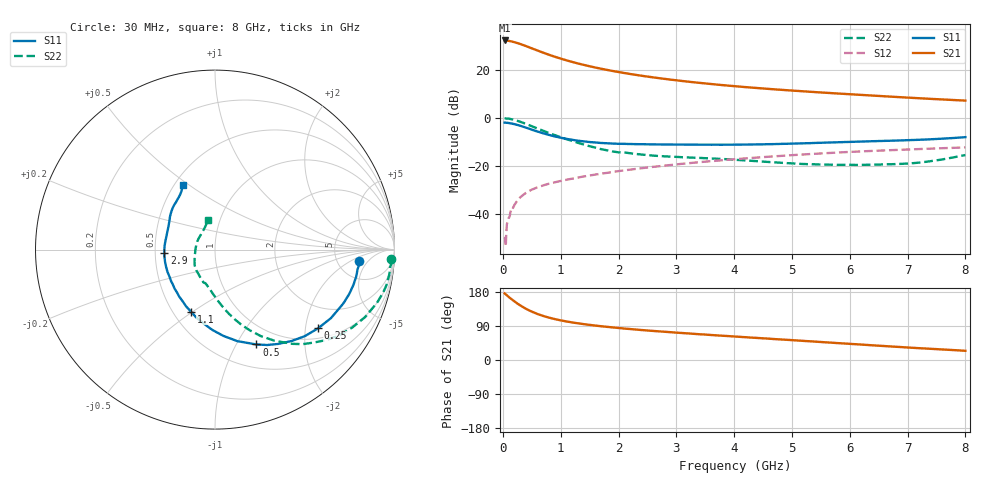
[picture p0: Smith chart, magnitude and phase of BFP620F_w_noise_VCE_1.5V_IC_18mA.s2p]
! Infineon Technologies  Discrete & RF Semiconductors
! BFP620F
! VCE =  1.5 V,  IC =  18 mA
! Common Emitter S-Parameters:  Dec 2014
# GHz  S  MA  R  50
!  f  S11  S21  S12  S22
! GHz  MAG  ANG  MAG  ANG  MAG  ANG  MAG  ANG
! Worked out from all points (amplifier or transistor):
!   95 points, 30 MHz to 8 GHz, reference 50 ohm
!   highest |S21| = 32.2 dB at 30 MHz (marker M1)
!   |S21| within 3 dB of that: start of sweep to 471.2 MHz
!   unconditionally stable (mu >= 1): 3.146 GHz to end of sweep
!   at 300 MHz: K = 0.25, MSG = 31.8 dB, |S12| = -32.9 dB
!   at 3.3 GHz: K = 1.01, MAG = 16.3 dB, |S12| = -18.5 dB
!   at 8 GHz: K = 1.07, MAG = 8.1 dB, |S12| = -12.2 dB
!   lowest NFmin = 0.78 dB at 450 MHz
!   S11 on the Smith chart (normalised r, x): 30 MHz: 8.25, -2.99; 250 MHz: 1.28, -2.35; 500 MHz: 0.77, -1.21; 1.1 GHz: 0.61, -0.49; 2.9 GHz: 0.56, -0.03; 8 GHz: 0.55, +0.47
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0.03  0.8068 -4.5  40.92 175.8  0.0031 93.7  0.983 -3.2
0.05  0.8013 -8.0  40.9 173.1  0.0022 84.4  0.98 -5.8
0.08  0.7977 -12.6  40.59 169.2  0.0069 80.8  0.9778 -9.7
0.14  0.778 -21.8  39.25 161.6  0.0122 79.0  0.9536 -17.3
0.2  0.7504 -30.6  37.65 154.7  0.0158 77.2  0.9171 -24.2
0.25  0.7225 -37.4  36.17 149.1  0.0194 73.0  0.88 -29.5
0.3  0.6946 -44.0  34.58 144.1  0.0227 70.9  0.8412 -34.6
0.4  0.633 -56.1  31.28 135.1  0.0281 67.1  0.7565 -43.2
0.5  0.5767 -66.4  28.09 127.7  0.0328 63.9  0.6795 -50.6
0.6  0.5259 -76.1  25.25 121.3  0.0367 61.5  0.6072 -56.8
0.7  0.4833 -84.4  22.78 116.1  0.0402 60.0  0.5452 -62.1
0.8  0.4477 -91.9  20.61 111.7  0.0437 59.0  0.4904 -66.6
0.9  0.4165 -98.8  18.77 107.9  0.0466 58.5  0.443 -70.7
1.1  0.3704 -111.3  15.82 101.7  0.0526 57.7  0.3655 -77.8
1.4  0.3294 -127.2  12.73 94.6  0.0616 57.4  0.2829 -87.1
2  0.2933 -151.7  9.054 84.5  0.0795 56.5  0.1949 -106.0
2.7  0.2845 -171.4  6.754 75.6  0.1003 54.6  0.1635 -124.6
2.9  0.2834 -175.8  6.297 73.4  0.1064 53.8  0.1586 -128.8
4.1  0.282 162.1  4.503 61.1  0.1429 48.1  0.1346 -147.8
5.4  0.3055 145.8  3.471 48.5  0.182 40.4  0.11 -177.0
6.7  0.3394 131.0  2.796 35.8  0.216 31.4  0.1103 145.1
8  0.4024 116.5  2.309 24.3  0.2468 22.6  0.1714 102.8
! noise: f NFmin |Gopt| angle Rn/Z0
0.45  0.78  0.08  6  0.21
0.9  0.84  0.08  15  0.18
1.5  0.89  0.08  16  0.14
1.8  0.91  0.07  17  0.13
1.9  0.92  0.04  34  0.15
2.4  0.96  0.03  60  0.14
3.5  1.04  0.03  133  0.14
5.5  1.18  0.13  224  0.09
6  1.21  0.13  245  0.13
